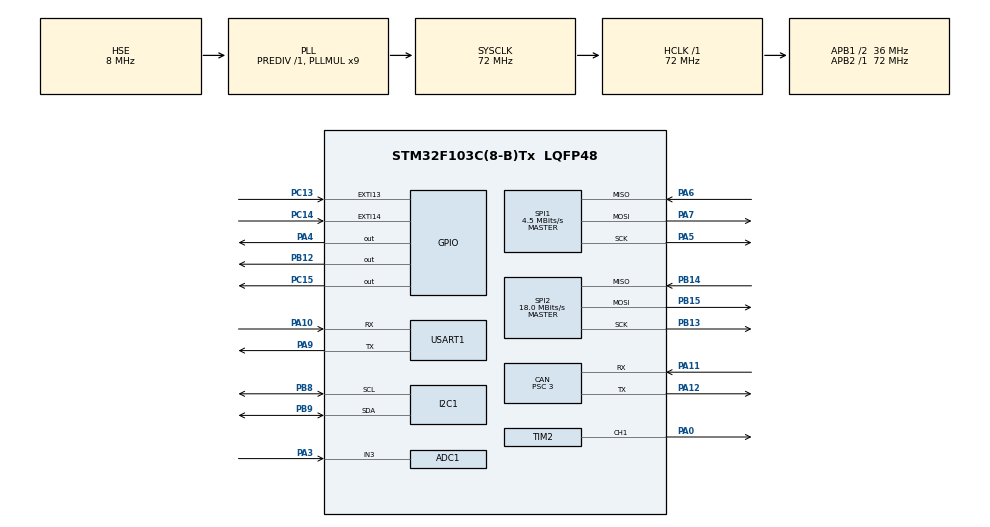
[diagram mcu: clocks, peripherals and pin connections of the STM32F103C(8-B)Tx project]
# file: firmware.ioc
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ADC1.Channel-0\#ChannelRegularConversion=ADC_CHANNEL_3
ADC1.NbrOfConversionFlag=1
ADC1.Rank-0\#ChannelRegularConversion=1
ADC1.SamplingTime-0\#ChannelRegularConversion=ADC_SAMPLETIME_1CYCLE_5
ADC1.master=1
CAN.BS1=CAN_BS1_9TQ
CAN.BS2=CAN_BS2_2TQ
CAN.CalculateTimeBit=1000
CAN.CalculateTimeQuantum=83.33333333333334
CAN.Prescaler=3
Dma.Request0=TIM2_CH1
Dma.TIM2_CH1.0.Direction=DMA_MEMORY_TO_PERIPH
Dma.TIM2_CH1.0.Instance=DMA1_Channel5
Dma.TIM2_CH1.0.MemDataAlignment=DMA_MDATAALIGN_HALFWORD
Dma.TIM2_CH1.0.MemInc=DMA_MINC_ENABLE
Dma.TIM2_CH1.0.Mode=DMA_NORMAL
Dma.TIM2_CH1.0.PeriphDataAlignment=DMA_PDATAALIGN_HALFWORD
Dma.TIM2_CH1.0.PeriphInc=DMA_PINC_DISABLE
Dma.TIM2_CH1.0.Priority=DMA_PRIORITY_MEDIUM
Mcu.Family=STM32F1
Mcu.Name=STM32F103C(8-B)Tx
Mcu.Package=LQFP48
NVIC.CAN1_RX1_IRQn=true\:1\:0\:true\:false\:true\:true\:true
NVIC.DMA1_Channel5_IRQn=true\:0\:0\:true\:false\:true\:false\:true
NVIC.PriorityGroup=NVIC_PRIORITYGROUP_4
NVIC.USART1_IRQn=true\:1\:0\:true\:false\:true\:true\:true
NVIC.USB_HP_CAN1_TX_IRQn=true\:1\:0\:true\:false\:true\:true\:true
NVIC.USB_LP_CAN1_RX0_IRQn=true\:1\:0\:true\:false\:true\:true\:true
PA0-WKUP.Signal=S_TIM2_CH1_ETR
PA10.Mode=Asynchronous
PA10.Signal=USART1_RX
PA11.Mode=Master
PA11.Signal=CAN_RX
PA12.Mode=Master
PA12.Signal=CAN_TX
PA13.Mode=Serial_Wire
PA13.Signal=SYS_JTMS-SWDIO
PA14.Mode=Serial_Wire
PA14.Signal=SYS_JTCK-SWCLK
PA3.Signal=ADCx_IN3
PA4.PinState=GPIO_PIN_SET
PA4.Signal=GPIO_Output
PA5.Mode=Full_Duplex_Master
PA5.Signal=SPI1_SCK
PA6.Mode=Full_Duplex_Master
PA6.Signal=SPI1_MISO
PA7.Mode=Full_Duplex_Master
PA7.Signal=SPI1_MOSI
PA9.Mode=Asynchronous
PA9.Signal=USART1_TX
PB12.Signal=GPIO_Output
PB13.Mode=Full_Duplex_Master
PB13.Signal=SPI2_SCK
PB14.Mode=Full_Duplex_Master
PB14.Signal=SPI2_MISO
PB15.Mode=Full_Duplex_Master
PB15.Signal=SPI2_MOSI
PB8.Mode=I2C
PB8.Signal=I2C1_SCL
PB9.Mode=I2C
PB9.Signal=I2C1_SDA
PC13-TAMPER-RTC.Signal=GPXTI13
PC14-OSC32_IN.Signal=GPXTI14
PC15-OSC32_OUT.Signal=GPIO_Output
PD0-OSC_IN.Mode=HSE-External-Oscillator
PD0-OSC_IN.Signal=RCC_OSC_IN
PD1-OSC_OUT.Mode=HSE-External-Oscillator
PD1-OSC_OUT.Signal=RCC_OSC_OUT
ProjectManager.HeapSize=0x200
ProjectManager.StackSize=0x400
ProjectManager.TargetToolchain=EWARM V8
RCC.ADCPresc=RCC_ADCPCLK2_DIV6
RCC.AHBFreq_Value=72000000
RCC.APB1CLKDivider=RCC_HCLK_DIV2
RCC.APB1Freq_Value=36000000
RCC.APB1TimFreq_Value=72000000
RCC.APB2Freq_Value=72000000
RCC.APB2TimFreq_Value=72000000
RCC.HCLKFreq_Value=72000000
RCC.PLLMUL=RCC_PLL_MUL9
RCC.PLLSourceVirtual=RCC_PLLSOURCE_HSE
RCC.SYSCLKFreq_VALUE=72000000
RCC.SYSCLKSource=RCC_SYSCLKSOURCE_PLLCLK
RCC.USBFreq_Value=72000000
SH.ADCx_IN3.0=ADC1_IN3,IN3
SH.S_TIM2_CH1_ETR.0=TIM2_CH1,PWM Generation1 CH1
SPI1.BaudRatePrescaler=SPI_BAUDRATEPRESCALER_16
SPI1.CalculateBaudRate=4.5 MBits/s
SPI1.Direction=SPI_DIRECTION_2LINES
SPI1.Mode=SPI_MODE_MASTER
SPI1.VirtualType=VM_MASTER
SPI2.CalculateBaudRate=18.0 MBits/s
SPI2.Direction=SPI_DIRECTION_2LINES
SPI2.Mode=SPI_MODE_MASTER
SPI2.VirtualType=VM_MASTER
TIM2.Channel-PWM\ Generation1\ CH1=TIM_CHANNEL_1
TIM2.Period=86
USART1.VirtualMode=VM_ASYNC
board=custom

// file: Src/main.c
/* USER CODE BEGIN Header */
/**
  ******************************************************************************
  * @file           : main.c
  * @brief          : Main program body
  ******************************************************************************
  * @attention
  *
  * <h2><center>&copy; Copyright (c) 2019 STMicroelectronics.
  * All rights reserved.</center></h2>
  *
  * This software component is licensed by ST under BSD 3-Clause license,
  * the "License"; You may not use this file except in compliance with the
  * License. You may obtain a copy of the License at:
  *                        opensource.org/licenses/BSD-3-Clause
  *
  ******************************************************************************
  */
/* USER CODE END Header */

#include "main.h"
#include "adc.h"
#include "can.h"
#include "dma.h"
#include "i2c.h"
#include "spi.h"
#include "tim.h"
#include "usart.h"
#include "gpio.h"

/* USER CODE BEGIN Includes */
#include "icm20600.h"
#include "sk6812.h"
#include "string.h"
#include "math.h"
#include "stdlib.h"
/* USER CODE END Includes */

/* USER CODE BEGIN PV */
/* Private variables ---------------------------------------------------------*/

/* USER CODE END PV */

void SystemClock_Config(void);
/* USER CODE BEGIN PFP */
/* Private function prototypes -----------------------------------------------*/
int16_t ac[3],gy[3];
int16_t last_ac[3];
int heart_beat_cnt=0;

static uint32_t  colors[4]={0,0,0,0};   // 默认为不发光
void set_color_white(uint32_t * colors,int num);
void set_team_color(uint32_t * colors,int num,uint8_t team);

// 以下为可以通过CAN总线配置的参数
uint8_t TEAM=0;  //队伍  不同队伍显示不一样的颜色
uint8_t NO_ATTACK_TIME =4;      // n个时间单位的死区时间
int16_t ATTACK_VALUE=8192; //攻击判定阈值
/* USER CODE END PFP */

int main(void)
{

  /* MCU Configuration--------------------------------------------------------*/

  /* Reset of all peripherals, Initializes the Flash interface and the Systick. */
  HAL_Init();

  /* Configure the system clock */
  SystemClock_Config();

  /* Initialize all configured peripherals */
  MX_GPIO_Init();
  MX_DMA_Init();
  MX_ADC1_Init();
  MX_CAN_Init();
  MX_I2C1_Init();
  MX_SPI1_Init();
  MX_SPI2_Init();
  MX_TIM2_Init();
  MX_USART1_UART_Init();
  /* USER CODE BEGIN 2 */
  MPU9250_Init(&MPU9250);
  HAL_GPIO_WritePin(GPIOC, GPIO_PIN_15, GPIO_PIN_RESET);

  //set_team_color(colors,4,0x0000FF);
  Can_Config();
  /* USER CODE END 2 */

  /* Infinite loop */
  while (1)
  {
    int32_t sub=0;
    static int8_t attack_cnt=0;    // 被攻击判定计数，在N*5ms内不再感知

    MPU_Read6500(&MPU9250,ac,gy);

    for(int i=0;i<3&&attack_cnt==0;++i){
      sub=abs(ac[i]-last_ac[i]);
      if(sub>ATTACK_VALUE){
        attack_cnt=NO_ATTACK_TIME;
        //发CAN消息告诉被攻击
        //我是个傻逼
        CAN_Send_Message(JUDGE_ID,(uint8_t *)&sub,4);    // 击中判定数据包，长度为4
        set_color_white(colors,4);    // 闪光效果。傻逼操作，亮瞎眼
        break;
      }
    }
    send_wave(ac[0],ac[1],ac[2],attack_cnt*1000);
    memcpy(last_ac,ac,sizeof(uint16_t)*3);

    attack_cnt--;
    if(attack_cnt<0){
      attack_cnt=0;
      set_team_color(colors,4,TEAM);
    }

    /*
    heart_beat_cnt++;
    if(heart_beat_cnt>200){   // 超过1s没收到心跳包
      heart_beat_cnt=0;
      TEAM=0;
      //CAN_Send_Message(JUDGE_ID,(uint8_t *)&sub,1);    // 心跳包，长度为1
    }*/
    HAL_Delay(5);
  }
}

void SystemClock_Config(void)
{
  RCC_OscInitTypeDef RCC_OscInitStruct = {0};
  RCC_ClkInitTypeDef RCC_ClkInitStruct = {0};
  RCC_PeriphCLKInitTypeDef PeriphClkInit = {0};

  /** Initializes the CPU, AHB and APB busses clocks
  */
  RCC_OscInitStruct.OscillatorType = RCC_OSCILLATORTYPE_HSE;
  RCC_OscInitStruct.HSEState = RCC_HSE_ON;
  RCC_OscInitStruct.HSEPredivValue = RCC_HSE_PREDIV_DIV1;
  RCC_OscInitStruct.HSIState = RCC_HSI_ON;
  RCC_OscInitStruct.PLL.PLLState = RCC_PLL_ON;
  RCC_OscInitStruct.PLL.PLLSource = RCC_PLLSOURCE_HSE;
  RCC_OscInitStruct.PLL.PLLMUL = RCC_PLL_MUL9;
  if (HAL_RCC_OscConfig(&RCC_OscInitStruct) != HAL_OK)
  {
    Error_Handler();
  }
  /** Initializes the CPU, AHB and APB busses clocks
  */
  RCC_ClkInitStruct.ClockType = RCC_CLOCKTYPE_HCLK|RCC_CLOCKTYPE_SYSCLK
                              |RCC_CLOCKTYPE_PCLK1|RCC_CLOCKTYPE_PCLK2;
  RCC_ClkInitStruct.SYSCLKSource = RCC_SYSCLKSOURCE_PLLCLK;
  RCC_ClkInitStruct.AHBCLKDivider = RCC_SYSCLK_DIV1;
  RCC_ClkInitStruct.APB1CLKDivider = RCC_HCLK_DIV2;
  RCC_ClkInitStruct.APB2CLKDivider = RCC_HCLK_DIV1;

  if (HAL_RCC_ClockConfig(&RCC_ClkInitStruct, FLASH_LATENCY_2) != HAL_OK)
  {
    Error_Handler();
  }
  PeriphClkInit.PeriphClockSelection = RCC_PERIPHCLK_ADC;
  PeriphClkInit.AdcClockSelection = RCC_ADCPCLK2_DIV6;
  if (HAL_RCCEx_PeriphCLKConfig(&PeriphClkInit) != HAL_OK)
  {
    Error_Handler();
  }
}

/* USER CODE BEGIN 4 */
// 本函数通过Can总线调用进行队伍的配置
void equip_module_init(uint8_t * data,int len){
  if(len!=4){
    return ;
  }

  TEAM=data[0];
  NO_ATTACK_TIME=data[1];
  memcpy(&ATTACK_VALUE,data+2,2);
  set_team_color(colors,4,TEAM);
  //heart_beat_cnt=0; // 收到心跳包，清空
}

void set_color_white(uint32_t * colors,int num){
  for(int i=0;i<num;++i){
    colors[i]=0xFFFFFF;
  }
  set_leds_color(colors,num);
}

void set_team_color(uint32_t * colors,int num,uint8_t team){
  uint32_t team_color=0x00;
  switch(team){
  case 1:
    team_color=0x0000FF;
    break;
  case 2:
    team_color=0x00FF00;
    break;
  case 3:
    team_color=0xFF0000;
    break;
  default:
    team_color=0x010101;
    break;
  }
  for(int i=0;i<num;++i){
    colors[i]=team_color;
  }
  set_leds_color(colors,num);
}
/* USER CODE END 4 */

void Error_Handler(void)
{
  while(1)
  {
  }
}

/************************ (C) COPYRIGHT STMicroelectronics *****END OF FILE****/
